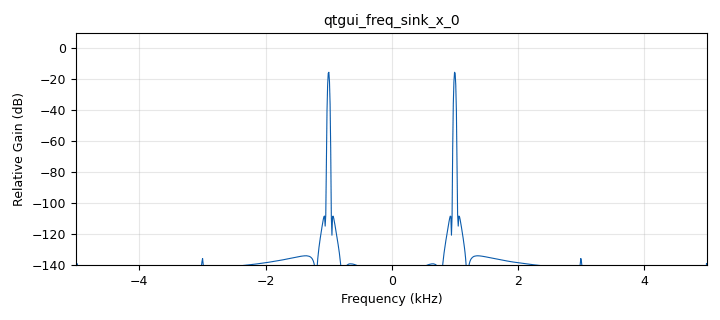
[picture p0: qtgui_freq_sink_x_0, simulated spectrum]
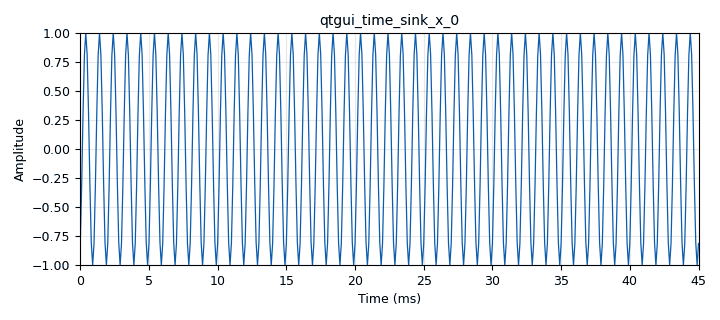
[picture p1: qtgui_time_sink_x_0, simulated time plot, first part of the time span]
options:
  parameters:
    author: omar
    generate_options: qt_gui
    id: multi_de_funciones
    output_language: python
    title: multi_de_funciones
  states: {}

blocks:
- name: frec_0
  id: variable_qtgui_range
  parameters:
    start: '0'
    step: '1000'
    stop: '100000'
    value: '10000'
  states: {}
- name: frec_1
  id: variable_qtgui_range
  parameters:
    start: '0'
    step: '2400'
    stop: '240000'
    value: '24000'
  states: {}
- name: frec_2
  id: variable_qtgui_range
  parameters:
    start: '0'
    step: '500'
    stop: '50000'
    value: '5000'
  states: {}
- name: samp_rate
  id: variable_qtgui_range
  parameters:
    label: samp_rate
    start: '0'
    step: '1000'
    stop: '1000000'
    value: '10000'
  states: {}
- name: analog_sig_source_x_0
  id: analog_sig_source_x
  parameters:
    amp: '1'
    freq: frec_0
    offset: '0'
    phase: '0'
    samp_rate: samp_rate
    type: float
    waveform: analog.GR_COS_WAVE
  states: {}
- name: analog_sig_source_x_0_0
  id: analog_sig_source_x
  parameters:
    amp: '1'
    freq: frec_1
    offset: '0'
    phase: '0'
    samp_rate: samp_rate
    type: float
    waveform: analog.GR_COS_WAVE
  states: {}
- name: analog_sig_source_x_0_1
  id: analog_sig_source_x
  parameters:
    amp: '1'
    freq: frec_2
    offset: '0'
    phase: '0'
    samp_rate: samp_rate
    type: float
    waveform: analog.GR_COS_WAVE
  states: {}
- name: blocks_multiply_xx_0
  id: blocks_multiply_xx
  parameters:
    num_inputs: '3'
    type: float
  states: {}
- name: blocks_throttle_0
  id: blocks_throttle
  parameters:
    samples_per_second: samp_rate
    type: float
  states: {}
- name: qtgui_freq_sink_x_0
  id: qtgui_freq_sink_x
  parameters:
    bw: samp_rate
    fc: '0'
    fftsize: '1024'
    type: float
  states: {}
- name: qtgui_time_sink_x_0
  id: qtgui_time_sink_x
  parameters:
    size: '1024'
    srate: samp_rate
    type: float
  states: {}

connections:
- [analog_sig_source_x_0, '0', blocks_multiply_xx_0, '0']
- [analog_sig_source_x_0_0, '0', blocks_multiply_xx_0, '1']
- [analog_sig_source_x_0_1, '0', blocks_multiply_xx_0, '2']
- [blocks_multiply_xx_0, '0', blocks_throttle_0, '0']
- [blocks_throttle_0, '0', qtgui_freq_sink_x_0, '0']
- [blocks_throttle_0, '0', qtgui_time_sink_x_0, '0']

metadata:
  file_format: 1
